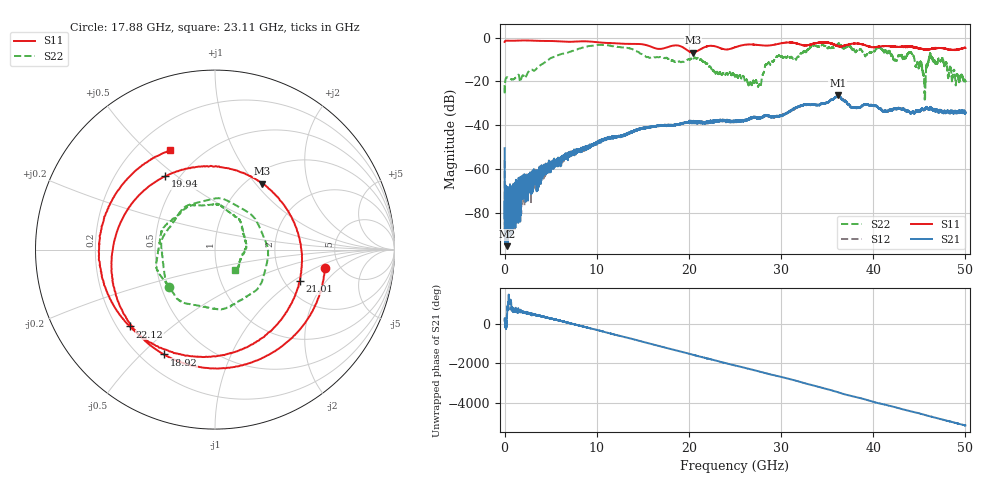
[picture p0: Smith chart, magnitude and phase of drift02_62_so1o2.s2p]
!Created with skrf (http://scikit-rf.org).
# Hz S RI R 50.0
!freq ReS11 ImS11 ReS21 ImS21 ReS12 ImS12 ReS22 ImS22
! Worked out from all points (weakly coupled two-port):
!   10001 points, 300 kHz to 50 GHz, reference 50 ohm
!   highest |S21| = -26.34 dB at 36.14 GHz (marker M1); lowest = -95.2 dB at 275.3 MHz (marker M2)
!   lowest |S11| = -6.9 dB at 20.44 GHz (marker M3), VSWR 2.65, Z = 58.7 + j54.2 ohm
!   |S11| at or under -10 dB: nowhere
!   |S22| runs from -28.4 to -2.5 dB; largest |S21 - S12| = 0.0053
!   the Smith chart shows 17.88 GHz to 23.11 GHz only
!   S11 on the Smith chart (normalised r, x): 17.88 GHz: 3.84, -1.25; 18.92 GHz: 0.29, -0.59; 19.94 GHz: 0.42, +0.45; 21.01 GHz: 2.41, -1.14; 22.12 GHz: 0.25, -0.36; 23.11 GHz: 0.34, +0.59
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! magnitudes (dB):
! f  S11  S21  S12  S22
! 300 kHz  -2.1  -50.5  -56.2  -21.7
! 275.3 MHz  -1.4  -95.2  -77.7  -18.2
! 8.335 GHz  -1.7  -50.9  -51.9  -4.7
! 16.67 GHz  -5.2  -40.3  -40.5  -9.0
! 17.88 GHz  -4.1  -39.9  -40.0  -9.6
! 18.92 GHz  -3.7  -39.9  -39.5  -10.8
! 19.94 GHz  -6.1  -38.6  -38.6  -9.9
! 20.44 GHz  -6.9  -38.9  -38.4  -9.8
! 21.01 GHz  -6.0  -39.2  -38.8  -9.4
! 22.12 GHz  -3.9  -38.6  -38.4  -12.7
! 23.11 GHz  -4.3  -38.3  -38.1  -16.0
! 25 GHz  -4.5  -38.4  -38.5  -17.7
! 27.63 GHz  -3.5  -36.6  -36.5  -21.4
! 29.54 GHz  -3.0  -35.9  -35.9  -8.8
! 33.34 GHz  -3.0  -30.7  -30.5  -3.8
! 36.14 GHz  -3.9  -26.3  -27.0  -3.1
! 41.67 GHz  -4.0  -33.1  -33.4  -6.0
! 44.13 GHz  -4.2  -34.4  -34.5  -7.1
! 45.52 GHz  -5.4  -33.0  -32.8  -20.3
! 46.19 GHz  -5.3  -32.4  -32.1  -7.3
! 47.33 GHz  -4.8  -33.2  -33.3  -10.8
! 50 GHz  -4.7  -34.3  -34.0  -20.3
